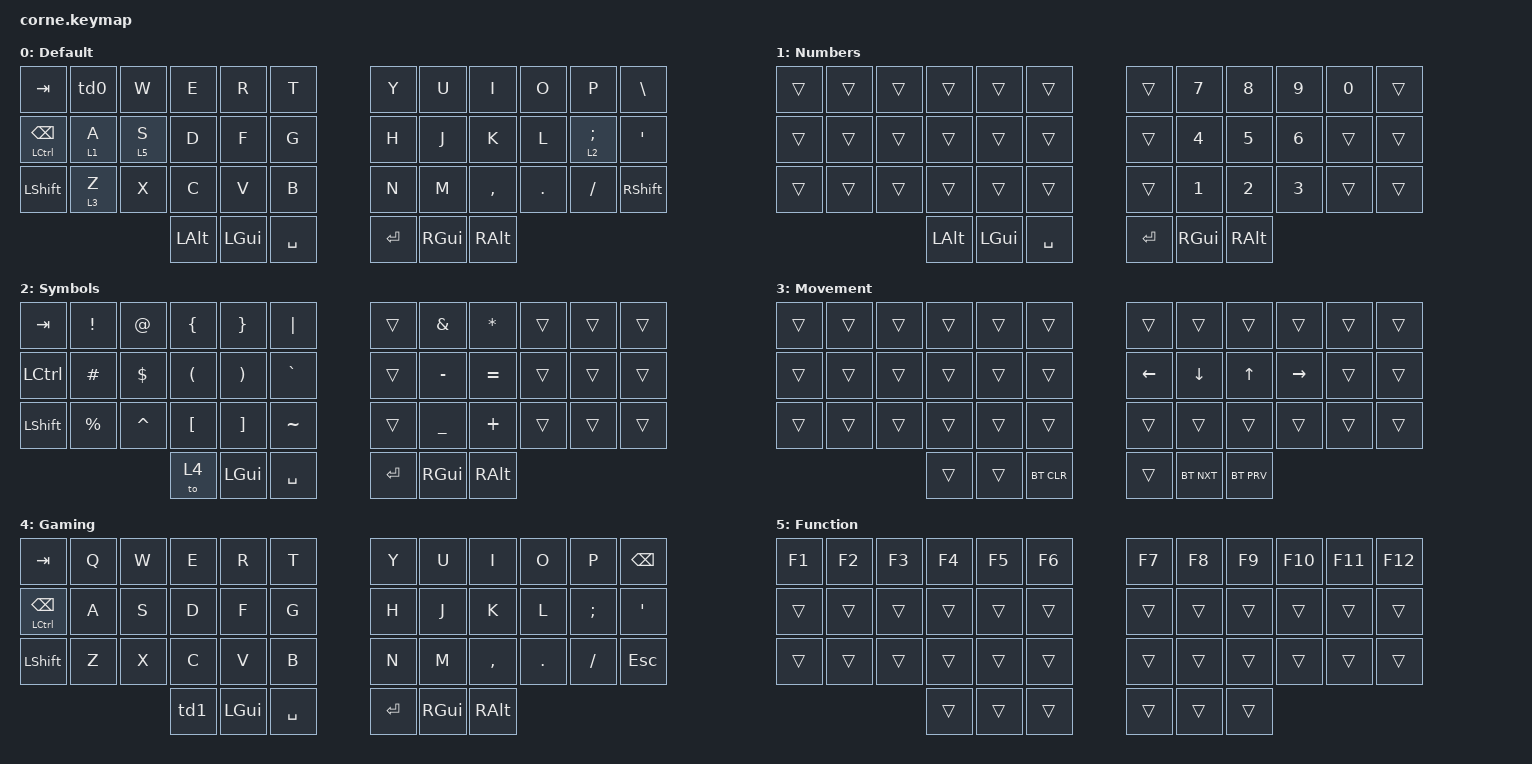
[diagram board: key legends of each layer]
/*
* Copyright (c) 2020 The ZMK Contributors
*
* SPDX-License-Identifier: MIT
*/

#include <behaviors.dtsi>
#include <dt-bindings/zmk/keys.h>
#include <dt-bindings/zmk/bt.h>


/ {
  behaviors {
    td0: tap_dance_0 {
      compatible = "zmk,behavior-tap-dance";
      #binding-cells = <0>;
      tapping-term-ms = <150>;
      bindings = <&kp Q>, <&kp ESC>;
    };
    td1: tap_dance_1 {
      compatible = "zmk,behavior-tap-dance";
      #binding-cells = <0>;
      tapping-term-ms = <200>;
      bindings = <&kp LGUI>, <&to 0>;
    };
  };

  keymap {
    compatible = "zmk,keymap";

    default_layer {
      label = "Default";
      bindings = <
        &kp TAB        &td0    &kp W &kp E    &kp R    &kp T      &kp Y   &kp U     &kp I     &kp O   &kp P      &kp BSLH
        &mt LCTRL BSPC &lt 1 A &lt 5 S &kp D    &kp F    &kp G      &kp H   &kp J     &kp K     &kp L   &lt 2 SEMI &kp SQT
        &kp LSHFT      &lt 3 Z &kp X &kp C    &kp V    &kp B      &kp N   &kp M     &kp COMMA &kp DOT &kp FSLH   &kp RSHFT
                                     &kp LALT &kp LGUI &kp SPACE  &kp RET &kp RGUI  &kp RALT
      >;
    };

    lower_layer {
      label = "Numbers";
      bindings = <
        &trans &trans &trans &trans   &trans   &trans     &trans  &kp N7   &kp N8 &kp N9 &kp N0 &trans
        &trans &trans &trans &trans   &trans   &trans     &trans  &kp N4   &kp N5 &kp N6 &trans &trans
        &trans &trans &trans &trans   &trans   &trans     &trans  &kp N1   &kp N2 &kp N3 &trans &trans
                             &kp LALT &kp LGUI &kp SPACE  &kp RET &kp RGUI &kp RALT
      >;
    };

    raise_layer {
      label = "Symbols";
      bindings = <
        &kp  TAB  &kp EXCL  &kp AT    &kp LBRC &kp RBRC &kp PIPE    &trans    &kp AMPS  &kp ASTRK &trans &trans &trans
        &kp LCTRL &kp POUND &kp DLLR  &kp LPAR &kp RPAR &kp GRAVE   &trans    &kp MINUS &kp EQUAL &trans &trans &trans
        &kp LSHFT &kp PRCNT &kp CARET &kp LBKT &kp RBKT &kp TILDE   &trans    &kp UNDER &kp PLUS  &trans &trans &trans
                                      &to 4    &kp LGUI &kp SPACE   &kp RET   &kp RGUI  &kp RALT
      >;
    };

    toogle_layer {
      label = "Movement";
      bindings = <
        &trans &trans &trans &trans &trans &trans     &trans   &trans     &trans     &trans    &trans &trans
        &trans &trans &trans &trans &trans &trans     &kp LEFT &kp DOWN   &kp UP     &kp RIGHT &trans &trans
        &trans &trans &trans &trans &trans &trans     &trans   &trans     &trans     &trans    &trans &trans
                             &trans &trans &bt BT_CLR &trans   &bt BT_NXT &bt BT_PRV
      >;
    };

    gaming_layer {
        label = "Gaming";
        bindings = <
            &kp TAB        &kp Q &kp W &kp E &kp R    &kp T      &kp Y   &kp U     &kp I     &kp O   &kp P    &kp BSPC
            &mt LCTRL BSPC &kp A &kp S &kp D &kp F    &kp G      &kp H   &kp J     &kp K     &kp L   &kp SEMI &kp SQT
            &kp LSHFT      &kp Z &kp X &kp C &kp V    &kp B      &kp N   &kp M     &kp COMMA &kp DOT &kp FSLH &kp ESC
                                       &td1  &kp LGUI &kp SPACE  &kp RET &kp RGUI  &kp RALT
        >;
    };

    function_layer {
        label = "Function";
        bindings = <
            &kp F1 &kp F2 &kp F3 &kp F4 &kp F5 &kp F6    &kp F7 &kp F8 &kp F9 &kp F10 &kp F11 &kp F12
            &trans &trans &trans &trans &trans &trans    &trans &trans &trans &trans  &trans  &trans
            &trans &trans &trans &trans &trans &trans    &trans &trans &trans &trans  &trans  &trans
                                 &trans &trans &trans    &trans &trans &trans
        >;
    };
  };
};
